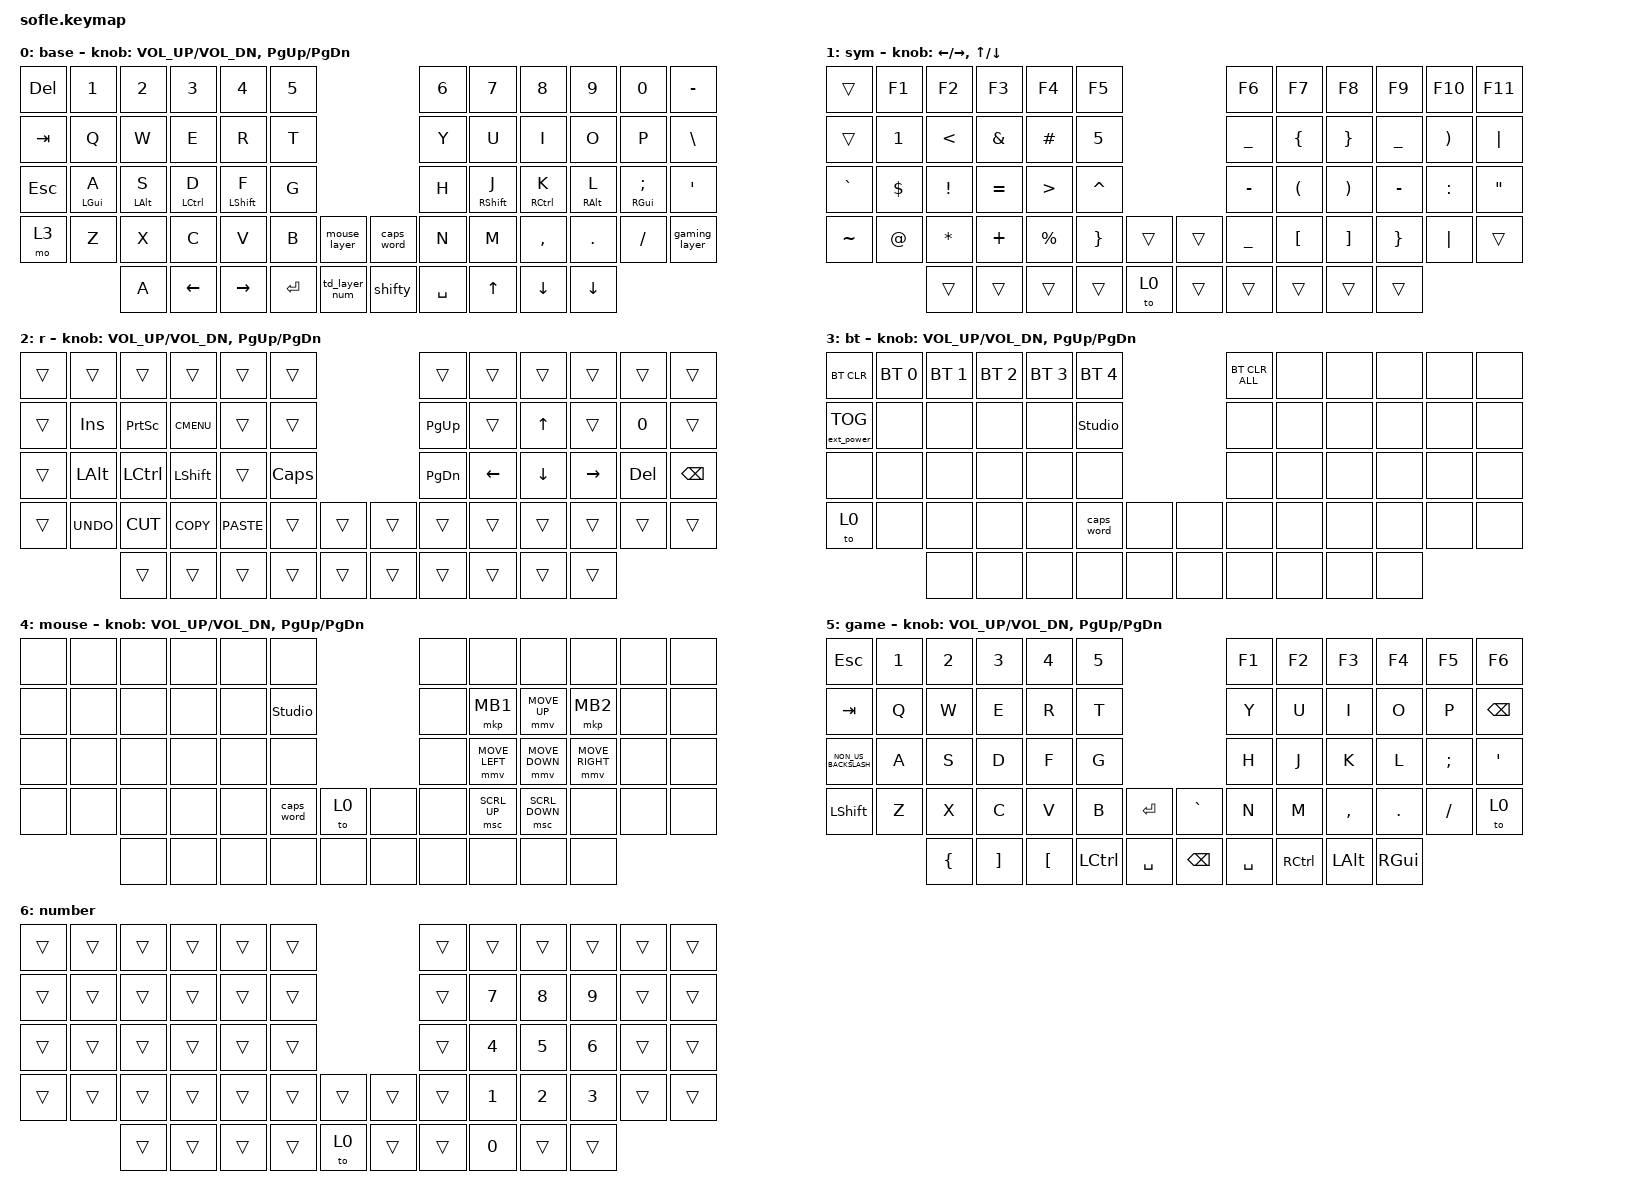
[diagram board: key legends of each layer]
/*
 * Copyright (c) 2020 The ZMK Contributors
 *
 * SPDX-License-Identifier: MIT
 */

#include <behaviors.dtsi>
#include <dt-bindings/zmk/bt.h>
#include <dt-bindings/zmk/ext_power.h>
#include <dt-bindings/zmk/keys.h>
#include <dt-bindings/zmk/pointing.h>

#define ZMK_POINTING_DEFAULT_MOVE_VAL 600  // default: 600
#define ZMK_POINTING_DEFAULT_SCRL_VAL 20    // default: 10
#define BASE 0
#define LOWER 1
#define RAISE 2
#define ADJUST 3
#define extra_layer 4
#define SHORT_COMBO_TIMEOUT 18
#define COMBO_TIMEOUT_LEFT 18
#define PRIOR_IDLE_COMBO 150
#define HOME_ROW_MOD_IDLE 150
#define MOD_FLAVOR "balanced"
#define MOD_TAP_TERM 280
#define MOD_QUICK_TAP 200

&mmv {
    x-input-code = <INPUT_REL_X>;
    y-input-code = <INPUT_REL_Y>;
    time-to-max-speed-ms = <300>;
    acceleration-exponent = <0>;
};

/ {
    // Activate ADJUST layer by pressing raise and lower

    conditional_layers { compatible = "zmk,conditional-layers"; };

    combos {
        compatible = "zmk,combos";

        b {
            bindings = <&hmr RS(RIGHT_CONTROL) BACKSPACE>;
            key-positions = <31 32>;
            layers = <0 6 1>;
        };

        tab {
            bindings = <&hml LS(LEFT_CONTROL) TAB>;
            key-positions = <28 27>;
            layers = <0>;
        };
    };

    behaviors {
        sticky_shift: sticky_shift {
            compatible = "zmk,behavior-sticky-key";
            label = "STICKY_SHIFT";
            bindings = <&sk>;
            #binding-cells = <1>;
            release-after-ms = <200>;
            quick-release;
        };

        shifty: shifty {
            compatible = "zmk,behavior-mod-morph";
            label = "SHIFTY";
            bindings = <&sticky_shift LEFT_SHIFT>, <&caps_word>;

            #binding-cells = <0>;
            mods = <(MOD_LSFT)>;
        };

        caps: caps {
            compatible = "zmk,behavior-caps-word";
            label = "CAPS";
            #binding-cells = <0>;
            continue-list = <POUND MINUS BACKSPACE UNDERSCORE>;
        };

        hml: hml {
            compatible = "zmk,behavior-hold-tap";
            label = "HML";
            bindings = <&kp>, <&kp>;

            #binding-cells = <2>;
            tapping-term-ms = <MOD_TAP_TERM>;
            hold-trigger-on-release;
            quick-tap-ms = <MOD_QUICK_TAP>;
            require-prior-idle-ms = <HOME_ROW_MOD_IDLE>;
            flavor =
            MOD_FLAVOR;
            hold-trigger-key-positions = <73 74 72 79 78 62 63 77 76 60 61 75 71 70 69 6 6 7 8 9 10 18 19 20 21 22 30 31 32 33 34 44 45 46 47 48 58 43 44 45 46 55 56 57 58 11 23 35 49 59 54 53 42>;
        };

        hmr: hmr {
            compatible = "zmk,behavior-hold-tap";
            label = "HMR";
            bindings = <&kp>, <&kp>;

            #binding-cells = <2>;
            tapping-term-ms = <MOD_TAP_TERM>;
            hold-trigger-on-release;
            quick-tap-ms = <MOD_QUICK_TAP>;
            require-prior-idle-ms = <HOME_ROW_MOD_IDLE>;
            flavor =
            MOD_FLAVOR;
            hold-trigger-key-positions = <71 70 53 52 69 68 51 50 38 39 27 26 14 4 15 3 13 25 37 67 66 36 24 12 2 1 65 64 0 74 73 72 5 16 17 28 29 40 41 42 52 53 54 56 55 43>;
        };

        layer_left: layer_left {
            compatible = "zmk,behavior-hold-tap";
            label = "LAYER_LEFT";
            bindings = <&mo>, <&kp>;

            #binding-cells = <2>;
            tapping-term-ms = <280>;
            hold-trigger-on-release;
            quick-tap-ms = <200>;
            require-prior-idle-ms = <125>;
            flavor = "balanced";
            hold-trigger-key-positions = <55 56 57 73 74 72 79 78 62 63 45 44 33 32 21 20 9 8 7 19 31 43 77 76 60 61 30 18 6 75 58 59 53 54 71 70 69 34 35 46 47 48 49 58 59 10 11 22 23>;
        };

        layer_right: layer_right {
            compatible = "zmk,behavior-hold-tap";
            label = "LAYER_RIGHT";
            bindings = <&mo>, <&kp>;

            #binding-cells = <2>;
            tapping-term-ms = <280>;
            hold-trigger-on-release;
            quick-tap-ms = <200>;
            require-prior-idle-ms = <125>;
            flavor = "balanced";
            hold-trigger-key-positions = <54 71 70 53 52 69 68 51 50 38 39 27 26 14 4 15 3 13 25 37 67 66 36 24 12 2 1 65 64 0 74 73 72 4 5 16 17 28 29 41 40 41 42 43 55 56>;
        };

        td_shift_capsword: td_shift_capsword {
            compatible = "zmk,behavior-tap-dance";
            label = "TD Sticky Shift / Caps Word";
            #binding-cells = <0>;
            tapping-term-ms = <400>; // Adjust for your typing speed
            bindings = <&sk LSHIFT>, <&caps_word>;
        };

        td_layer_num: td_layer_num {
            compatible = "zmk,behavior-tap-dance";
            label = "TD_LAYER_NUM";
            #binding-cells = <0>;
            tapping-term-ms = <400>;
            bindings = <&sl 1>, <&to 6>;
        };

        mouse_layer: mouse_layer {
            compatible = "zmk,behavior-tap-dance";
            label = "MOUSE_LAYER";
            #binding-cells = <0>;
            bindings = <&none>, <&tog 4>;
        };

        gaming_layer: gaming_layer {
            compatible = "zmk,behavior-tap-dance";
            label = "GAMING_LAYER";
            #binding-cells = <0>;
            bindings = <&none>, <&tog 5>;
        };
    };

    keymap {
        compatible = "zmk,keymap";

        base {
            display-name = "base";

            // ------------------------------------------------------------------------------------------------------------
            // |   `   |  1  |  2  |  3   |  4   |  5   |                   |  6   |  7    |  8    |  9   |   0   |       |
            // |  ESC  |  Q  |  W  |  E   |  R   |  T   |                   |  Y   |  U    |  I    |  O   |   P   | BKSPC |
            // |  TAB  |  A  |  S  |  D   |  F   |  G   |                   |  H   |  J    |  K    |  L   |   ;   |   '   |
            // | SHIFT |  Z  |  X  |  C   |  V   |  B   |  MUTE  |  |       |  N   |  M    |  ,    |  .   |   /   | SHIFT |
            //               | GUI | ALT  | CTRL | LOWER|  ENTER |  | SPACE | RAISE| CTRL  | ALT   | GUI  |

            bindings = <
&kp DELETE  &kp N1           &kp N2           &kp N3               &kp N4             &kp N5                                  &kp N6     &kp N7              &kp N8                &kp N9            &kp N0                    &kp MINUS
&kp TAB     &kp Q            &kp W            &kp E                &kp R              &kp T                                   &kp Y      &kp U               &kp I                 &kp O             &kp P                     &kp BACKSLASH
&kp ESC     &hml LEFT_GUI A  &hml LEFT_ALT S  &hml LEFT_CONTROL D  &hml LEFT_SHIFT F  &kp G                                   &kp H      &hmr RIGHT_SHIFT J  &hmr RIGHT_CONTROL K  &hmr RIGHT_ALT L  &hmr RIGHT_GUI SEMICOLON  &kp SQT
&mo 3       &kp Z            &kp X            &kp C                &kp V              &kp B      &mouse_layer     &caps_word  &kp N      &kp M               &kp COMMA             &kp DOT           &kp SLASH                 &gaming_layer
                             &kp A            &kp LEFT_ARROW       &kp RIGHT          &kp ENTER  &td_layer_num    &shifty     &kp SPACE  &kp UP_ARROW        &kp DOWN_ARROW        &kp DOWN_ARROW
            >;

            sensor-bindings = <&inc_dec_kp C_VOL_UP C_VOL_DN &inc_dec_kp PG_UP PG_DN>;
        };

        sym {
            display-name = "sym";

            // TODO: Some binds are waiting for shifted keycode support.
            // ------------------------------------------------------------------------------------------------------------
            // |       |  F1 |  F2 |  F3  |  F4  |  F5  |                   |  F6  |  F7   |  F8   |  F9  |  F10  |  F11  |
            // |   `   |  1  |  2  |  3   |  4   |  5   |                   |  6   |  7    |  8    |  9   |   0   |  F12  |
            // |       |  !  |  @  |  #   |  $   |  %   |                   |  ^   |  &    |  *    |  (   |   )   |   |   |
            // |       |  =  |  -  |  +   |  {   |  }   |        |  |       |  [   |  ]    |  ;    |  :   |   \   |       |
            //               |     |      |      |      |        |  |       |      |       |       |      |

            bindings = <
&trans     &kp F1      &kp F2         &kp F3         &kp F4            &kp F5                       &kp F6          &kp F7                &kp F8                 &kp F9           &kp F10                &kp F11
&trans     &kp N1      &kp LESS_THAN  &kp AMPERSAND  &kp HASH          &kp N5                       &kp UNDER       &kp LEFT_BRACE        &kp RIGHT_BRACE        &kp UNDER        &kp RIGHT_PARENTHESIS  &kp PIPE
&kp GRAVE  &kp DOLLAR  &kp EXCL       &kp EQUAL      &kp GREATER_THAN  &kp CARET                    &kp MINUS       &kp LEFT_PARENTHESIS  &kp RIGHT_PARENTHESIS  &kp MINUS        &kp COLON              &kp DOUBLE_QUOTES
&kp TILDE  &kp AT      &kp ASTERISK   &kp PLUS       &kp PERCENT       &kp RBRC   &trans    &trans  &kp UNDERSCORE  &kp LEFT_BRACKET      &kp RIGHT_BRACKET      &kp RIGHT_BRACE  &kp PIPE               &trans
                       &trans         &trans         &trans            &trans     &to 0     &trans  &trans          &trans                &trans                 &trans
            >;

            sensor-bindings =
                <&inc_dec_kp LEFT_ARROW RIGHT_ARROW>,
                <&inc_dec_kp UP_ARROW DOWN_ARROW>;
        };

        r {
            display-name = "r";

            // ------------------------------------------------------------------------------------------------------------
            // | BTCLR | BT1  | BT2  |  BT3  |  BT4  |  BT5 |                |      |      |       |      |       |       |
            // |       | INS  | PSCR | GUI   |       |      |                | PGUP |      |   ^   |      |       |       |
            // |       | ALT  | CTRL | SHIFT |       | CAPS |                | PGDN |   <- |   v   |  ->  |  DEL  | BKSPC |
            // |       | UNDO | CUT  | COPY  | PASTE |      |      |  |      |      |      |       |      |       |       |
            //                |      |       |       |      |      |  |      |      |      |       |      |

            bindings = <
&trans  &trans      &trans     &trans       &trans       &trans                      &trans     &trans    &trans    &trans     &trans   &trans
&trans  &kp INS     &kp PSCRN  &kp K_CMENU  &trans       &trans                      &kp PG_UP  &trans    &kp UP    &trans     &kp N0   &trans
&trans  &kp LALT    &kp LCTRL  &kp LSHFT    &trans       &kp CLCK                    &kp PG_DN  &kp LEFT  &kp DOWN  &kp RIGHT  &kp DEL  &kp BSPC
&trans  &kp K_UNDO  &kp K_CUT  &kp K_COPY   &kp K_PASTE  &trans    &trans    &trans  &trans     &trans    &trans    &trans     &trans   &trans
                    &trans     &trans       &trans       &trans    &trans    &trans  &trans     &trans    &trans    &trans
            >;

            sensor-bindings = <&inc_dec_kp C_VOL_UP C_VOL_DN &inc_dec_kp PG_UP PG_DN>;
        };

        bt {
            // ----------------------------------------------------------------------------------------------------------------------------
            // | BTCLR  |  BT1    |  BT2    |   BT3   |   BT4   |   BT5   |                  |      |      |       |      |       |       |
            // | EXTPWR | RGB_HUD | RGB_HUI | RGB_SAD | RGB_SAI | RGB_EFF |                  |      |      |       |      |       |       |
            // |        | RGB_BRD | RGB_BRI |         |         |         |                  |      |      |       |      |       |       |
            // |        |         |         |         |         |         | RGB_TOG | |      |      |      |       |      |       |       |
            //                    |         |         |         |         |         | |      |      |      |       |      |

            display-name = "bt";
            bindings = <
&bt BT_CLR         &bt BT_SEL 0  &bt BT_SEL 1  &bt BT_SEL 2  &bt BT_SEL 3  &bt BT_SEL 4                    &bt BT_CLR_ALL  &none  &none  &none  &none  &none
&ext_power EP_TOG  &none         &none         &none         &none         &studio_unlock                  &none           &none  &none  &none  &none  &none
&none              &none         &none         &none         &none         &none                           &none           &none  &none  &none  &none  &none
&to 0              &none         &none         &none         &none         &caps_word      &none    &none  &none           &none  &none  &none  &none  &none
                                 &none         &none         &none         &none           &none    &none  &none           &none  &none  &none
            >;

            sensor-bindings = <&inc_dec_kp C_VOL_UP C_VOL_DN &inc_dec_kp PG_UP PG_DN>;
        };

        mouse {
            // ----------------------------------------------------------------------------------------------------------------------------
            // | BTCLR  |  BT1    |  BT2    |   BT3   |   BT4   |   BT5   |                  |      |      |       |      |       |       |
            // | EXTPWR | RGB_HUD | RGB_HUI | RGB_SAD | RGB_SAI | RGB_EFF |                  |      |      |       |      |       |       |
            // |        | RGB_BRD | RGB_BRI |         |         |         |                  |      |      |       |      |       |       |
            // |        |         |         |         |         |         | RGB_TOG | |      |      |      |       |      |       |       |
            //                    |         |         |         |         |         | |      |      |      |       |      |

            display-name = "mouse";
            bindings = <
&none  &none  &none  &none  &none  &none                           &none  &none           &none           &none            &none  &none
&none  &none  &none  &none  &none  &studio_unlock                  &none  &mkp MB1        &mmv MOVE_UP    &mkp MB2         &none  &none
&none  &none  &none  &none  &none  &none                           &none  &mmv MOVE_LEFT  &mmv MOVE_DOWN  &mmv MOVE_RIGHT  &none  &none
&none  &none  &none  &none  &none  &caps_word      &to 0    &none  &none  &msc SCRL_UP    &msc SCRL_DOWN  &none            &none  &none
              &none  &none  &none  &none           &none    &none  &none  &none           &none           &none
            >;

            sensor-bindings = <&inc_dec_kp C_VOL_UP C_VOL_DN &inc_dec_kp PG_UP PG_DN>;
        };

        game {
            display-name = "game";
            bindings = <
&kp ESCAPE            &kp N1  &kp N2          &kp N3             &kp N4            &kp N5                                        &kp F1     &kp F2     &kp F3     &kp F4    &kp F5    &kp F6
&kp TAB               &kp Q   &kp W           &kp E              &kp R             &kp T                                         &kp Y      &kp U      &kp I      &kp O     &kp P     &kp BSPC
&kp NON_US_BACKSLASH  &kp A   &kp S           &kp D              &kp F             &kp G                                         &kp H      &kp J      &kp K      &kp L     &kp SEMI  &kp SQT
&kp LSHFT             &kp Z   &kp X           &kp C              &kp V             &kp B             &kp ENTER    &kp GRAVE      &kp N      &kp M      &kp COMMA  &kp DOT   &kp FSLH  &to 0
                              &kp LEFT_BRACE  &kp RIGHT_BRACKET  &kp LEFT_BRACKET  &kp LEFT_CONTROL  &kp SPACE    &kp BACKSPACE  &kp SPACE  &kp RCTRL  &kp LALT   &kp RGUI
            >;

            sensor-bindings =
                <&inc_dec_kp C_VOL_UP C_VOL_DN>,
                <&inc_dec_kp PG_UP PG_DN>;
        };

        num {
            bindings = <
&trans  &trans  &trans  &trans  &trans  &trans                    &trans  &trans  &trans  &trans  &trans  &trans
&trans  &trans  &trans  &trans  &trans  &trans                    &trans  &kp N7  &kp N8  &kp N9  &trans  &trans
&trans  &trans  &trans  &trans  &trans  &trans                    &trans  &kp N4  &kp N5  &kp N6  &trans  &trans
&trans  &trans  &trans  &trans  &trans  &trans  &trans    &trans  &trans  &kp N1  &kp N2  &kp N3  &trans  &trans
                &trans  &trans  &trans  &trans  &to 0     &trans  &trans  &kp N0  &trans  &trans
            >;

            label = "number";
        };
    };
};
